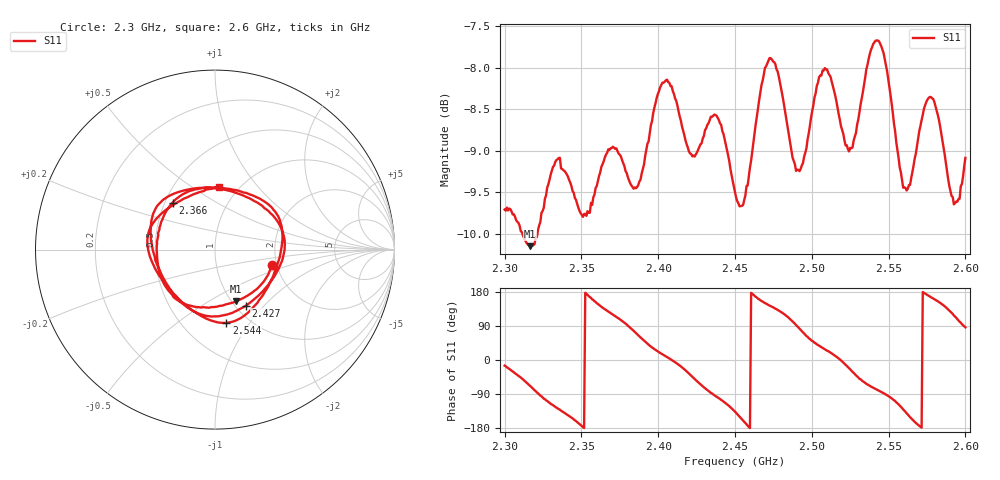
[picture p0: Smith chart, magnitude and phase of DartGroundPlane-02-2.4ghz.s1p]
! NanoVNA-App
! Date: 2026-05-25 02:03:51
! Start: 2.3GHz Stop: 2.6GHz Points: 401
! S-Parameter data: F S11
# Hz S RI R 50
!  Frequency  S11_Real  S11_Imag
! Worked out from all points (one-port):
!   401 points, 2.3 GHz to 2.6 GHz, reference 50 ohm
!   lowest |S11| = -10.1 dB at 2.317 GHz (marker M1), VSWR 1.90, Z = 52.4 - j33.4 ohm
!   |S11| at or under -10 dB: 2.311608 GHz to 2.321336 GHz (9.728 MHz wide, 0.42 % of centre)
!   S11 on the Smith chart (normalised r, x): 2.3 GHz: 1.88, -0.35; 2.366 GHz: 0.55, +0.33; 2.427 GHz: 1.11, -0.80; 2.544 GHz: 0.79, -0.78; 2.6 GHz: 0.82, +0.65
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2.3e9  0.316 -0.0842
2.3165e9  0.1171 -0.288
2.327e9  -0.0947 -0.3199
2.3375e9  -0.2474 -0.2419
2.3525e9  -0.3248 0.0146
2.366e9  -0.2361 0.2624
2.375e9  -0.1062 0.3365
2.3855e9  0.1083 0.319
2.3975e9  0.3309 0.18
2.4125e9  0.3721 -0.066
2.42675e9  0.17 -0.3135
2.438e9  -0.0449 -0.3699
2.45e9  -0.2422 -0.2315
2.459e9  -0.3417 -0.0206
2.46875e9  -0.3489 0.1839
2.4785e9  -0.2557 0.299
2.4875e9  -0.0713 0.3442
2.50625e9  0.3256 0.2217
2.51525e9  0.3761 0.0729
2.525e9  0.324 -0.1483
2.53475e9  0.1928 -0.3421
2.54375e9  0.0626 -0.4083
2.55275e9  -0.0873 -0.3636
2.5625e9  -0.2718 -0.1988
2.57075e9  -0.3665 -0.0248
2.57975e9  -0.3583 0.1262
2.58725e9  -0.2644 0.228
2.6e9  0.0242 0.3506
